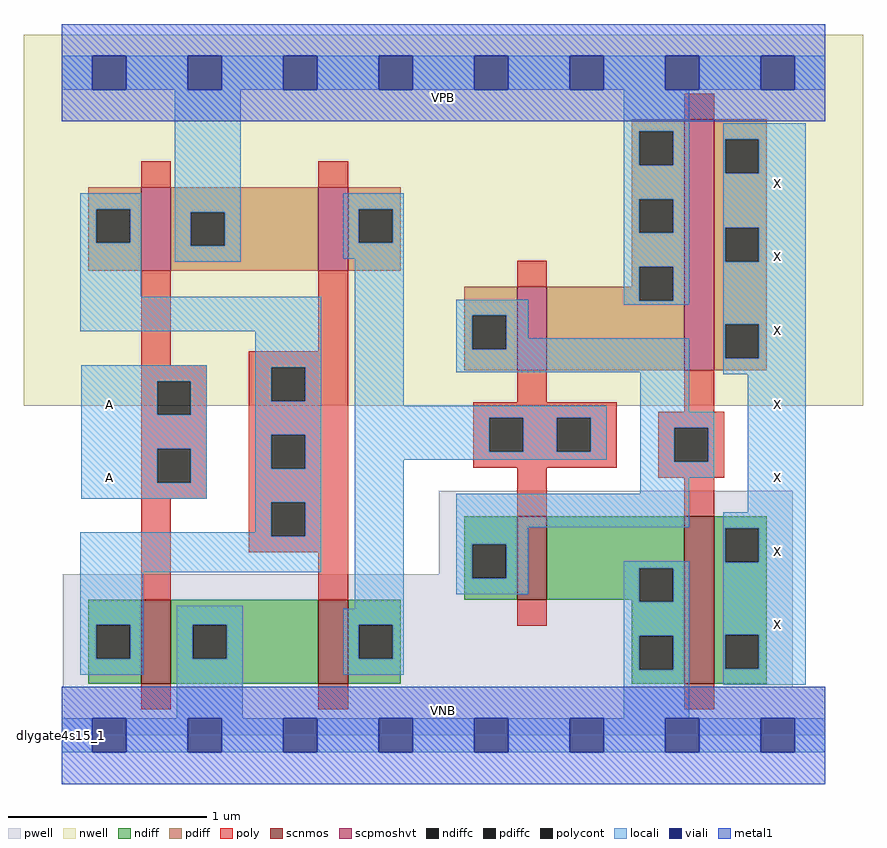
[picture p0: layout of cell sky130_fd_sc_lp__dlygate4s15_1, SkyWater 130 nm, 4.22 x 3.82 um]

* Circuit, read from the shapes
.subckt sky130_fd_sc_lp__dlygate4s15_1 A VGND VNB VPB VPWR X
XM1 VGND A n1 VNB sky130_fd_pr__nfet_01v8 w=0.42 l=0.15
XM2 n2 n1 VGND VNB sky130_fd_pr__nfet_01v8 w=0.42 l=0.15
XM3 VGND n2 n3 VNB sky130_fd_pr__nfet_01v8 w=0.42 l=0.15
XM4 X n3 VGND VNB sky130_fd_pr__nfet_01v8 w=0.84 l=0.15
XM5 VPWR A n1 VPB sky130_fd_pr__pfet_01v8_hvt w=0.42 l=0.15
XM6 n2 n1 VPWR VPB sky130_fd_pr__pfet_01v8_hvt w=0.42 l=0.15
XM7 VPWR n2 n3 VPB sky130_fd_pr__pfet_01v8_hvt w=0.42 l=0.15
XM8 X n3 VPWR VPB sky130_fd_pr__pfet_01v8_hvt w=1.26 l=0.15
.ends

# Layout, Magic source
magic
tech sky130A
magscale 1 2
<< nwell >>
rect -38 331 806 704
<< pwell >>
rect 379 162 735 246
rect 1 49 735 162
rect 0 0 768 49
<< scnmos >>
rect 458 136 488 220
rect 80 52 110 136
rect 258 52 288 136
rect 626 52 656 220
<< scpmoshvt >>
rect 80 467 110 551
rect 258 467 288 551
rect 458 367 488 451
rect 626 367 656 619
<< ndiff >>
rect 405 192 458 220
rect 405 158 413 192
rect 447 158 458 192
rect 405 136 458 158
rect 488 168 626 220
rect 488 136 581 168
rect 27 111 80 136
rect 27 77 35 111
rect 69 77 80 111
rect 27 52 80 77
rect 110 111 258 136
rect 110 77 132 111
rect 166 77 258 111
rect 110 52 258 77
rect 288 111 341 136
rect 288 77 299 111
rect 333 77 341 111
rect 573 134 581 136
rect 615 134 626 168
rect 288 52 341 77
rect 573 100 626 134
rect 573 66 581 100
rect 615 66 626 100
rect 573 52 626 66
rect 656 208 709 220
rect 656 174 667 208
rect 701 174 709 208
rect 656 101 709 174
rect 656 67 667 101
rect 701 67 709 101
rect 656 52 709 67
<< pdiff >>
rect 573 607 626 619
rect 573 573 581 607
rect 615 573 626 607
rect 27 529 80 551
rect 27 495 35 529
rect 69 495 80 529
rect 27 467 80 495
rect 110 526 258 551
rect 110 492 130 526
rect 164 492 258 526
rect 110 467 258 492
rect 288 529 341 551
rect 288 495 299 529
rect 333 495 341 529
rect 288 467 341 495
rect 573 539 626 573
rect 573 505 581 539
rect 615 505 626 539
rect 573 471 626 505
rect 573 451 581 471
rect 405 422 458 451
rect 405 388 413 422
rect 447 388 458 422
rect 405 367 458 388
rect 488 437 581 451
rect 615 437 626 471
rect 488 367 626 437
rect 656 599 709 619
rect 656 565 667 599
rect 701 565 709 599
rect 656 510 709 565
rect 656 476 667 510
rect 701 476 709 510
rect 656 413 709 476
rect 656 379 667 413
rect 701 379 709 413
rect 656 367 709 379
<< ndiffc >>
rect 413 158 447 192
rect 35 77 69 111
rect 132 77 166 111
rect 299 77 333 111
rect 581 134 615 168
rect 581 66 615 100
rect 667 174 701 208
rect 667 67 701 101
<< pdiffc >>
rect 581 573 615 607
rect 35 495 69 529
rect 130 492 164 526
rect 299 495 333 529
rect 581 505 615 539
rect 413 388 447 422
rect 581 437 615 471
rect 667 565 701 599
rect 667 476 701 510
rect 667 379 701 413
<< poly >>
rect 626 619 656 645
rect 80 551 110 577
rect 258 551 288 577
rect 80 372 110 467
rect 258 386 288 467
rect 458 451 488 477
rect 80 356 146 372
rect 80 322 96 356
rect 130 322 146 356
rect 80 288 146 322
rect 80 254 96 288
rect 130 254 146 288
rect 80 238 146 254
rect 188 370 288 386
rect 188 336 211 370
rect 245 336 288 370
rect 188 302 288 336
rect 458 335 488 367
rect 188 268 211 302
rect 245 268 288 302
rect 414 319 558 335
rect 626 325 656 367
rect 414 285 430 319
rect 464 285 498 319
rect 532 285 558 319
rect 414 269 558 285
rect 600 309 666 325
rect 600 275 616 309
rect 650 275 666 309
rect 80 136 110 238
rect 188 234 288 268
rect 188 200 211 234
rect 245 200 288 234
rect 458 220 488 269
rect 600 259 666 275
rect 626 220 656 259
rect 188 184 288 200
rect 258 136 288 184
rect 458 110 488 136
rect 80 26 110 52
rect 258 26 288 52
rect 626 26 656 52
<< polycont >>
rect 96 322 130 356
rect 96 254 130 288
rect 211 336 245 370
rect 211 268 245 302
rect 430 285 464 319
rect 498 285 532 319
rect 616 275 650 309
rect 211 200 245 234
<< locali >>
rect 0 649 31 683
rect 65 649 127 683
rect 161 649 223 683
rect 257 649 319 683
rect 353 649 415 683
rect 449 649 511 683
rect 545 649 607 683
rect 641 649 703 683
rect 737 649 768 683
rect 19 529 80 545
rect 19 495 35 529
rect 69 495 80 529
rect 19 441 80 495
rect 114 526 180 649
rect 565 607 631 649
rect 565 573 581 607
rect 615 573 631 607
rect 114 492 130 526
rect 164 492 180 526
rect 114 476 180 492
rect 283 529 344 545
rect 283 495 299 529
rect 333 495 344 529
rect 283 479 344 495
rect 19 406 261 441
rect 20 356 146 372
rect 20 322 96 356
rect 130 322 146 356
rect 20 288 146 322
rect 20 254 96 288
rect 130 254 146 288
rect 20 238 146 254
rect 195 370 261 406
rect 195 336 211 370
rect 245 336 261 370
rect 195 302 261 336
rect 195 268 211 302
rect 245 268 261 302
rect 195 234 261 268
rect 195 204 211 234
rect 19 200 211 204
rect 245 200 261 234
rect 19 164 261 200
rect 295 331 344 479
rect 565 539 631 573
rect 565 505 581 539
rect 615 505 631 539
rect 565 471 631 505
rect 397 422 469 438
rect 565 437 581 471
rect 615 437 631 471
rect 565 433 631 437
rect 665 599 748 615
rect 665 565 667 599
rect 701 565 748 599
rect 665 510 748 565
rect 665 476 667 510
rect 701 476 748 510
rect 397 388 413 422
rect 447 399 469 422
rect 665 413 748 476
rect 447 388 631 399
rect 397 365 631 388
rect 295 319 548 331
rect 295 285 430 319
rect 464 285 498 319
rect 532 285 548 319
rect 295 277 548 285
rect 582 325 631 365
rect 665 379 667 413
rect 701 379 748 413
rect 665 363 748 379
rect 582 309 656 325
rect 19 111 82 164
rect 19 77 35 111
rect 69 77 82 111
rect 19 61 82 77
rect 116 111 182 130
rect 295 127 344 277
rect 582 275 616 309
rect 650 275 656 309
rect 582 259 656 275
rect 582 243 631 259
rect 397 209 631 243
rect 690 224 748 363
rect 397 192 469 209
rect 397 158 413 192
rect 447 158 469 192
rect 665 208 748 224
rect 397 142 469 158
rect 565 168 631 175
rect 116 77 132 111
rect 166 77 182 111
rect 116 17 182 77
rect 283 111 344 127
rect 283 77 299 111
rect 333 77 344 111
rect 283 61 344 77
rect 565 134 581 168
rect 615 134 631 168
rect 565 100 631 134
rect 565 66 581 100
rect 615 66 631 100
rect 565 17 631 66
rect 665 174 667 208
rect 701 174 748 208
rect 665 101 748 174
rect 665 67 667 101
rect 701 67 748 101
rect 665 51 748 67
rect 0 -17 31 17
rect 65 -17 127 17
rect 161 -17 223 17
rect 257 -17 319 17
rect 353 -17 415 17
rect 449 -17 511 17
rect 545 -17 607 17
rect 641 -17 703 17
rect 737 -17 768 17
<< viali >>
rect 31 649 65 683
rect 127 649 161 683
rect 223 649 257 683
rect 319 649 353 683
rect 415 649 449 683
rect 511 649 545 683
rect 607 649 641 683
rect 703 649 737 683
rect 31 -17 65 17
rect 127 -17 161 17
rect 223 -17 257 17
rect 319 -17 353 17
rect 415 -17 449 17
rect 511 -17 545 17
rect 607 -17 641 17
rect 703 -17 737 17
<< metal1 >>
rect 0 683 768 715
rect 0 649 31 683
rect 65 649 127 683
rect 161 649 223 683
rect 257 649 319 683
rect 353 649 415 683
rect 449 649 511 683
rect 545 649 607 683
rect 641 649 703 683
rect 737 649 768 683
rect 0 617 768 649
rect 0 17 768 49
rect 0 -17 31 17
rect 65 -17 127 17
rect 161 -17 223 17
rect 257 -17 319 17
rect 353 -17 415 17
rect 449 -17 511 17
rect 545 -17 607 17
rect 641 -17 703 17
rect 737 -17 768 17
rect 0 -49 768 -17
<< labels >>
flabel pwell s 0 0 768 49 0 FreeSans 200 0 0 0 VNB
port 3 nsew ground bidirectional
flabel nwell s 0 617 768 666 0 FreeSans 200 0 0 0 VPB
port 4 nsew power bidirectional
rlabel comment s 0 0 0 0 4 dlygate4s15_1
flabel metal1 s 0 0 768 49 0 FreeSans 340 0 0 0 VGND
port 2 nsew ground bidirectional
flabel metal1 s 0 617 768 666 0 FreeSans 340 0 0 0 VPWR
port 5 nsew power bidirectional
flabel locali s 31 242 65 276 0 FreeSans 340 0 0 0 A
port 1 nsew signal input
flabel locali s 31 316 65 350 0 FreeSans 340 0 0 0 A
port 1 nsew signal input
flabel locali s 703 316 737 350 0 FreeSans 200 0 0 0 X
port 6 nsew signal output
flabel locali s 703 464 737 498 0 FreeSans 200 0 0 0 X
port 6 nsew signal output
flabel locali s 703 390 737 424 0 FreeSans 200 0 0 0 X
port 6 nsew signal output
flabel locali s 703 168 737 202 0 FreeSans 200 0 0 0 X
port 6 nsew signal output
flabel locali s 703 94 737 128 0 FreeSans 200 0 0 0 X
port 6 nsew signal output
flabel locali s 703 242 737 276 0 FreeSans 200 0 0 0 X
port 6 nsew signal output
flabel locali s 703 538 737 572 0 FreeSans 200 0 0 0 X
port 6 nsew signal output
<< properties >>
string LEFsite unit
string LEFclass CORE
string FIXED_BBOX 0 0 768 666
string GDS_FILE $PDKPATH/libs.ref/sky130_fd_sc_lp/gds/sky130_fd_sc_lp.gds
string LEFsymmetry X Y R90
string GDS_END 5313388
string GDS_START 5306762
<< end >>
